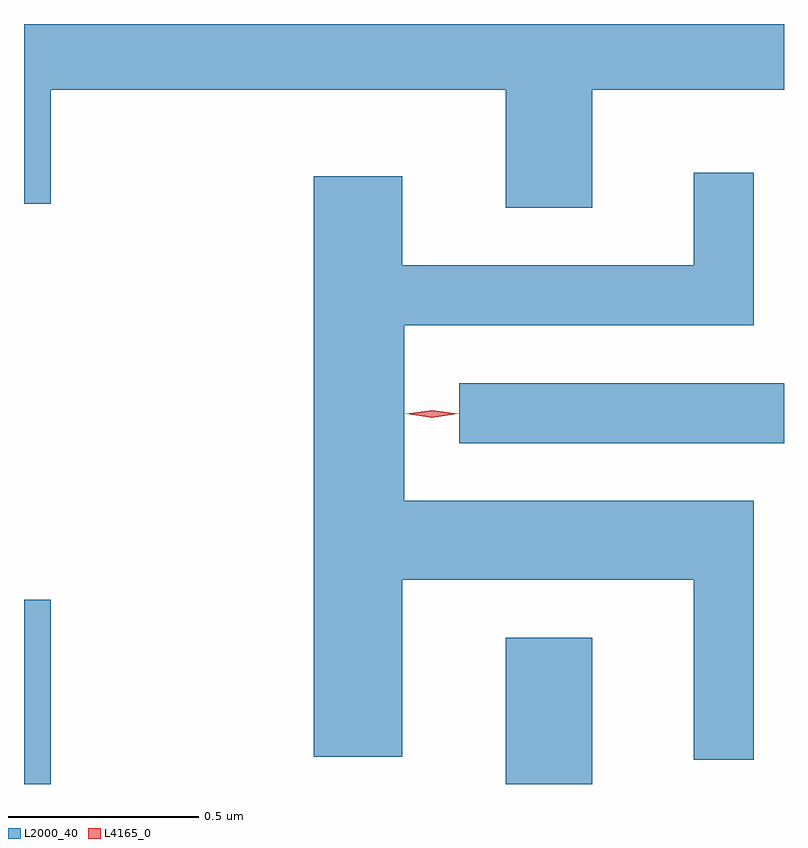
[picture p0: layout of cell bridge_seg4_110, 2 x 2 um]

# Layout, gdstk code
import gdstk
lib = gdstk.Library(unit=1e-6, precision=1e-09)
def R(c, l, rs):  # rectangles x0, y0, x1, y1
    for r in rs: c.add(gdstk.rectangle(r[:2], r[2:], *l))
def P(c, l, *ps):  # polygons
    for p in ps: c.add(gdstk.Polygon(p, *l))
L2000_40 = (2000, 40)
L4165_0 = (4165, 0)

bridge_seg4_110 = lib.new_cell('bridge_seg4_110')
R(bridge_seg4_110, L2000_40, [(914.573,1332.869,914.644,1333.354), (915.841,1332.869,916.069,1333.254), (915.718,1333.766,916.573,1333.924)])
P(bridge_seg4_110, L2000_40, [(916.069,1334.696),(916.573,1334.696),(916.573,1334.869),(914.573,1334.869),(914.573,1334.396),(914.644,1334.396),(914.644,1334.696),(915.841,1334.696),(915.841,1334.386),(916.069,1334.386)],
  [(916.494,1333.614),(915.574,1333.614),(915.574,1334.076),(916.494,1334.076),(916.494,1334.478),(916.336,1334.478),(916.336,1334.234),(915.569,1334.234),(915.569,1334.469),(915.336,1334.469),(915.336,1332.941),(915.569,1332.941),(915.569,1333.406),(916.336,1333.406),(916.336,1332.933),(916.494,1332.933)])
P(bridge_seg4_110, L4165_0, [(915.647,1333.833),(915.578,1333.843),(915.577,1333.843),(915.578,1333.844),(915.647,1333.853),(915.716,1333.844),(915.716,1333.843),(915.716,1333.843)],
  [(915.646,1333.833),(915.58,1333.843),(915.58,1333.843),(915.58,1333.844),(915.646,1333.853),(915.712,1333.844),(915.713,1333.843),(915.712,1333.843)])

lib.write_gds('bridge_seg4_110.gds')
